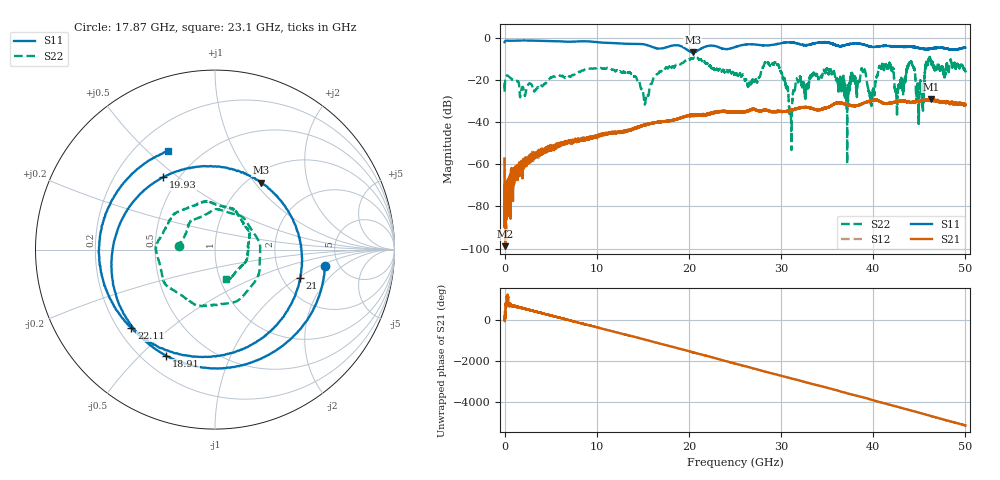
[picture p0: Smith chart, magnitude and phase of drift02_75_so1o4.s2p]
!Created with skrf (http://scikit-rf.org).
# Hz S RI R 50.0
!freq ReS11 ImS11 ReS21 ImS21 ReS12 ImS12 ReS22 ImS22
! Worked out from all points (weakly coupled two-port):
!   10001 points, 300 kHz to 50 GHz, reference 50 ohm
!   highest |S21| = -29.13 dB at 46.23 GHz (marker M1); lowest = -98.9 dB at 60.3 MHz (marker M2)
!   lowest |S11| = -6.9 dB at 20.43 GHz (marker M3), VSWR 2.65, Z = 57.3 + j53.7 ohm
!   |S11| at or under -10 dB: nowhere
!   |S22| runs from -59.8 to -9.1 dB; largest |S21 - S12| = 0.0028
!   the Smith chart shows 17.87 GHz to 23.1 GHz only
!   S11 on the Smith chart (normalised r, x): 17.87 GHz: 3.91, -1.13; 18.91 GHz: 0.29, -0.60; 19.93 GHz: 0.41, +0.44; 21 GHz: 2.48, -1.06; 22.11 GHz: 0.25, -0.37; 23.1 GHz: 0.33, +0.58
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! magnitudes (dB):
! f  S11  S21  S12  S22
! 300 kHz  -2.1  -57.5  -56.7  -21.5
! 60.3 MHz  -1.6  -98.9  -81.0  -20.0
! 8.335 GHz  -1.7  -48.8  -49.0  -15.7
! 15.33 GHz  -3.4  -41.1  -41.3  -29.2
! 16.67 GHz  -5.2  -40.0  -40.1  -17.0
! 17.87 GHz  -4.2  -39.5  -39.4  -13.9
! 18.91 GHz  -3.7  -38.5  -38.2  -12.5
! 19.93 GHz  -6.1  -37.1  -37.0  -10.1
! 20.43 GHz  -6.9  -37.0  -36.9  -10.0
! 21 GHz  -6.0  -36.7  -36.5  -9.8
! 22.11 GHz  -3.9  -36.3  -36.1  -12.9
! 23.1 GHz  -4.3  -35.3  -35.3  -15.1
! 25 GHz  -4.5  -35.5  -35.1  -17.5
! 29.51 GHz  -3.0  -35.0  -35.2  -12.5
! 31.04 GHz  -2.3  -34.5  -34.7  -35.8
! 33.34 GHz  -3.0  -33.3  -33.3  -18.2
! 38.91 GHz  -3.2  -31.2  -31.1  -16.3
! 39.78 GHz  -4.4  -30.0  -30.1  -31.7
! 41.67 GHz  -4.0  -31.1  -31.1  -13.0
! 45.15 GHz  -5.1  -30.1  -29.8  -21.9
! 46.23 GHz  -5.3  -29.1  -29.3  -10.4
! 50 GHz  -4.7  -31.9  -31.8  -15.7
